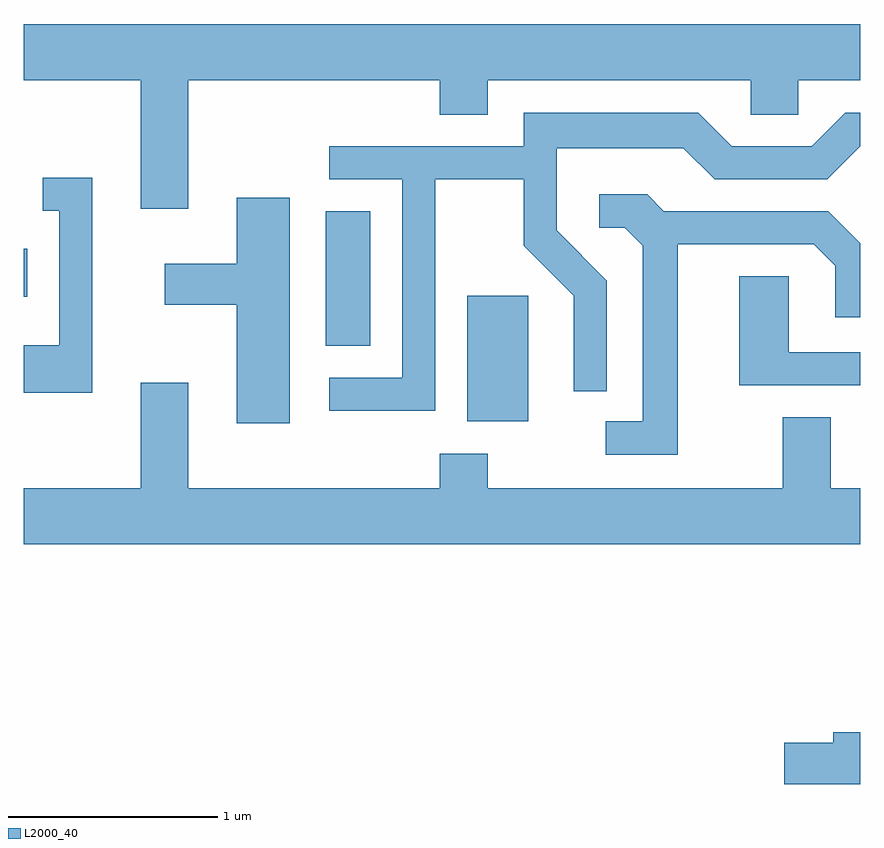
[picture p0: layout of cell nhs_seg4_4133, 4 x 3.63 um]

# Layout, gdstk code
import gdstk
lib = gdstk.Library(unit=1e-6, precision=1e-09)
def R(c, l, rs):  # rectangles x0, y0, x1, y1
    for r in rs: c.add(gdstk.rectangle(r[:2], r[2:], *l))
def P(c, l, *ps):  # polygons
    for p in ps: c.add(gdstk.Polygon(p, *l))
L2000_40 = (2000, 40)

nhs_seg4_4133 = lib.new_cell('nhs_seg4_4133')
R(nhs_seg4_4133, L2000_40, [(307.731,1361.926,308.024,1362.524), (307.056,1362.286,307.269,1362.929), (305.611,1362.521,305.629,1362.749)])
P(nhs_seg4_4133, L2000_40, [(306.399,1363.556),(307.601,1363.556),(307.601,1363.391),(307.829,1363.391),(307.829,1363.556),(309.086,1363.556),(309.086,1363.391),(309.314,1363.391),(309.314,1363.556),(309.611,1363.556),(309.611,1363.824),(305.611,1363.824),(305.611,1363.556),(306.171,1363.556),(306.171,1362.941),(306.399,1362.941)],
  [(307.579,1363.081),(308.001,1363.081),(308.001,1362.764),(308.241,1362.524),(308.241,1362.068),(308.399,1362.068),(308.399,1362.597),(308.159,1362.837),(308.159,1363.231),(308.764,1363.231),(308.914,1363.081),(309.452,1363.081),(309.611,1363.24),(309.611,1363.399),(309.539,1363.399),(309.379,1363.239),(308.997,1363.239),(308.837,1363.399),(308.001,1363.399),(308.001,1363.239),(307.073,1363.239),(307.073,1363.081),(307.421,1363.081),(307.421,1362.134),(307.073,1362.134),(307.073,1361.976),(307.579,1361.976)],
  [(305.939,1363.089),(305.703,1363.089),(305.703,1362.931),(305.781,1362.931),(305.781,1362.289),(305.611,1362.289),(305.611,1362.061),(305.939,1362.061)],
  [(308.739,1362.771),(309.389,1362.771),(309.491,1362.669),(309.491,1362.423),(309.611,1362.423),(309.611,1362.775),(309.457,1362.929),(308.672,1362.929),(308.592,1363.009),(308.363,1363.009),(308.363,1362.851),(308.484,1362.851),(308.571,1362.764),(308.571,1361.924),(308.393,1361.924),(308.393,1361.766),(308.739,1361.766)],
  [(306.884,1362.994),(306.631,1362.994),(306.631,1362.679),(306.286,1362.679),(306.286,1362.481),(306.631,1362.481),(306.631,1361.916),(306.884,1361.916)],
  [(309.611,1362.254),(309.269,1362.254),(309.269,1362.619),(309.031,1362.619),(309.031,1362.096),(309.611,1362.096)],
  [(309.611,1361.604),(309.469,1361.604),(309.469,1361.944),(309.241,1361.944),(309.241,1361.604),(307.829,1361.604),(307.829,1361.769),(307.601,1361.769),(307.601,1361.604),(306.399,1361.604),(306.399,1362.109),(306.171,1362.109),(306.171,1361.604),(305.611,1361.604),(305.611,1361.336),(309.611,1361.336)],
  [(309.611,1360.439),(309.481,1360.439),(309.481,1360.389),(309.246,1360.389),(309.246,1360.191),(309.611,1360.191)])

lib.write_gds('nhs_seg4_4133.gds')
